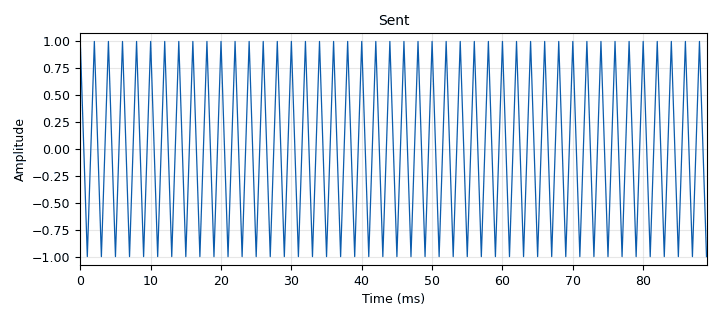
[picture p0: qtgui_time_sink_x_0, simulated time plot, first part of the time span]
<?xml version='1.0' encoding='utf-8'?>
<?grc format='1' created='3.7.11'?>
<flow_graph>
<block>
<key>options</key>
<param><key>id</key><value>experiment</value></param>
<param><key>generate_options</key><value>qt_gui</value></param>
</block>
<block>
<key>variable_qtgui_range</key>
<param><key>id</key><value>freq</value></param>
<param><key>value</key><value>400e6</value></param>
<param><key>orient</key><value>Qt.Horizontal</value></param>
<param><key>start</key><value>300e6</value></param>
<param><key>step</key><value>1e6</value></param>
<param><key>stop</key><value>500e9</value></param>
</block>
<block>
<key>variable</key>
<param><key>id</key><value>samp_rate</value></param>
<param><key>value</key><value>1e3</value></param>
</block>
<block>
<key>analog_quadrature_demod_cf</key>
<param><key>id</key><value>analog_quadrature_demod_cf_1</value></param>
<param><key>_enabled</key><value>0</value></param>
<param><key>gain</key><value>1</value></param>
</block>
<block>
<key>analog_sig_source_x</key>
<param><key>id</key><value>analog_sig_source_x_0</value></param>
<param><key>amp</key><value>1</value></param>
<param><key>freq</key><value>500</value></param>
<param><key>offset</key><value>0</value></param>
<param><key>type</key><value>float</value></param>
<param><key>samp_rate</key><value>samp_rate</value></param>
<param><key>waveform</key><value>analog.GR_COS_WAVE</value></param>
</block>
<block>
<key>blks2_packet_decoder</key>
<param><key>id</key><value>blks2_packet_decoder_0</value></param>
<param><key>access_code</key><value></value></param>
<param><key>_enabled</key><value>0</value></param>
<param><key>type</key><value>float</value></param>
<param><key>threshold</key><value>-1</value></param>
</block>
<block>
<key>blks2_packet_encoder</key>
<param><key>id</key><value>blks2_packet_encoder_0</value></param>
<param><key>access_code</key><value></value></param>
<param><key>bits_per_symbol</key><value>1</value></param>
<param><key>type</key><value>float</value></param>
<param><key>pad_for_usrp</key><value>False</value></param>
<param><key>payload_length</key><value>16</value></param>
<param><key>preamble</key><value></value></param>
<param><key>samples_per_symbol</key><value>4</value></param>
</block>
<block>
<key>blocks_throttle</key>
<param><key>id</key><value>blocks_throttle_0</value></param>
<param><key>samples_per_second</key><value>samp_rate</value></param>
<param><key>type</key><value>float</value></param>
</block>
<block>
<key>digital_gfsk_mod</key>
<param><key>id</key><value>digital_gfsk_mod_0</value></param>
<param><key>bt</key><value>0.35</value></param>
<param><key>samples_per_symbol</key><value>4</value></param>
<param><key>sensitivity</key><value>1.0</value></param>
</block>
<block>
<key>digital_gmsk_demod</key>
<param><key>id</key><value>digital_gmsk_demod_0</value></param>
<param><key>_enabled</key><value>0</value></param>
<param><key>freq_error</key><value>0.0</value></param>
<param><key>gain_mu</key><value>0.175</value></param>
<param><key>mu</key><value>0.5</value></param>
<param><key>omega_relative_limit</key><value>0.005</value></param>
<param><key>samples_per_symbol</key><value>4</value></param>
</block>
<block>
<key>limesdr_sink</key>
<param><key>id</key><value>limesdr_sink_0</value></param>
<param><key>calibr_bandw_ch0</key><value>5e6</value></param>
<param><key>digital_bandw_ch0</key><value>0</value></param>
<param><key>gain_dB_ch0</key><value>40</value></param>
<param><key>calibr_bandw_ch1</key><value>5e6</value></param>
<param><key>digital_bandw_ch1</key><value>0</value></param>
<param><key>gain_dB_ch1</key><value>30</value></param>
<param><key>pa_path_ch1</key><value>1</value></param>
<param><key>channel_mode</key><value>0</value></param>
<param><key>oversample</key><value>0</value></param>
<param><key>rf_freq</key><value>freq</value></param>
<param><key>samp_rate</key><value>2e6</value></param>
</block>
<block>
<key>limesdr_source</key>
<param><key>id</key><value>limesdr_source_0</value></param>
<param><key>analog_bandw_ch0</key><value>5e6</value></param>
<param><key>calibr_bandw_ch0</key><value>5e6</value></param>
<param><key>digital_bandw_ch0</key><value>0</value></param>
<param><key>gain_dB_ch0</key><value>30</value></param>
<param><key>analog_bandw_ch1</key><value>5e6</value></param>
<param><key>calibr_bandw_ch1</key><value>5e6</value></param>
<param><key>digital_bandw_ch1</key><value>0</value></param>
<param><key>gain_dB_ch1</key><value>30</value></param>
<param><key>channel_mode</key><value>0</value></param>
<param><key>_enabled</key><value>0</value></param>
<param><key>oversample</key><value>0</value></param>
<param><key>rf_freq</key><value>freq+.5e6</value></param>
<param><key>samp_rate</key><value>samp_rate</value></param>
</block>
<block>
<key>qtgui_freq_sink_x</key>
<param><key>id</key><value>qtgui_freq_sink_x_0</value></param>
<param><key>bw</key><value>samp_rate</value></param>
<param><key>fc</key><value>freq</value></param>
<param><key>_enabled</key><value>0</value></param>
<param><key>fftsize</key><value>1024</value></param>
<param><key>showports</key><value>True</value></param>
<param><key>type</key><value>complex</value></param>
<param><key>wintype</key><value>firdes.WIN_BLACKMAN_hARRIS</value></param>
</block>
<block>
<key>qtgui_number_sink</key>
<param><key>id</key><value>qtgui_number_sink_0</value></param>
<param><key>_enabled</key><value>0</value></param>
<param><key>graph_type</key><value>qtgui.NUM_GRAPH_HORIZ</value></param>
<param><key>type</key><value>float</value></param>
<param><key>name</key><value>"Received"</value></param>
</block>
<block>
<key>qtgui_number_sink</key>
<param><key>id</key><value>qtgui_number_sink_1</value></param>
<param><key>_enabled</key><value>0</value></param>
<param><key>graph_type</key><value>qtgui.NUM_GRAPH_HORIZ</value></param>
<param><key>type</key><value>float</value></param>
</block>
<block>
<key>qtgui_time_sink_x</key>
<param><key>id</key><value>qtgui_time_sink_x_0</value></param>
<param><key>color1</key><value>"blue"</value></param>
<param><key>label1</key><value></value></param>
<param><key>name</key><value>"Sent"</value></param>
<param><key>size</key><value>1024</value></param>
<param><key>srate</key><value>samp_rate</value></param>
<param><key>type</key><value>float</value></param>
</block>
<block>
<key>qtgui_time_sink_x</key>
<param><key>id</key><value>qtgui_time_sink_x_1</value></param>
<param><key>_enabled</key><value>0</value></param>
<param><key>color1</key><value>"blue"</value></param>
<param><key>label1</key><value></value></param>
<param><key>name</key><value>"Received"</value></param>
<param><key>size</key><value>1024</value></param>
<param><key>srate</key><value>samp_rate</value></param>
<param><key>type</key><value>float</value></param>
</block>
<block>
<key>rational_resampler_xxx</key>
<param><key>id</key><value>rational_resampler_xxx_0</value></param>
<param><key>decim</key><value>1</value></param>
<param><key>interp</key><value>2000</value></param>
<param><key>taps</key><value></value></param>
<param><key>type</key><value>ccc</value></param>
</block>
<connection><source_block_id>analog_quadrature_demod_cf_1</source_block_id><sink_block_id>qtgui_time_sink_x_1</sink_block_id><source_key>0</source_key><sink_key>0</sink_key></connection>
<connection><source_block_id>analog_sig_source_x_0</source_block_id><sink_block_id>blocks_throttle_0</sink_block_id><source_key>0</source_key><sink_key>0</sink_key></connection>
<connection><source_block_id>blks2_packet_decoder_0</source_block_id><sink_block_id>qtgui_number_sink_0</sink_block_id><source_key>0</source_key><sink_key>0</sink_key></connection>
<connection><source_block_id>blks2_packet_encoder_0</source_block_id><sink_block_id>digital_gfsk_mod_0</sink_block_id><source_key>0</source_key><sink_key>0</sink_key></connection>
<connection><source_block_id>blocks_throttle_0</source_block_id><sink_block_id>blks2_packet_encoder_0</sink_block_id><source_key>0</source_key><sink_key>0</sink_key></connection>
<connection><source_block_id>blocks_throttle_0</source_block_id><sink_block_id>qtgui_time_sink_x_0</sink_block_id><source_key>0</source_key><sink_key>0</sink_key></connection>
<connection><source_block_id>digital_gfsk_mod_0</source_block_id><sink_block_id>rational_resampler_xxx_0</sink_block_id><source_key>0</source_key><sink_key>0</sink_key></connection>
<connection><source_block_id>digital_gmsk_demod_0</source_block_id><sink_block_id>blks2_packet_decoder_0</sink_block_id><source_key>0</source_key><sink_key>0</sink_key></connection>
<connection><source_block_id>limesdr_source_0</source_block_id><sink_block_id>analog_quadrature_demod_cf_1</sink_block_id><source_key>0</source_key><sink_key>0</sink_key></connection>
<connection><source_block_id>limesdr_source_0</source_block_id><sink_block_id>digital_gmsk_demod_0</sink_block_id><source_key>0</source_key><sink_key>0</sink_key></connection>
<connection><source_block_id>limesdr_source_0</source_block_id><sink_block_id>qtgui_freq_sink_x_0</sink_block_id><source_key>0</source_key><sink_key>0</sink_key></connection>
<connection><source_block_id>rational_resampler_xxx_0</source_block_id><sink_block_id>limesdr_sink_0</sink_block_id><source_key>0</source_key><sink_key>0</sink_key></connection>
</flow_graph>
